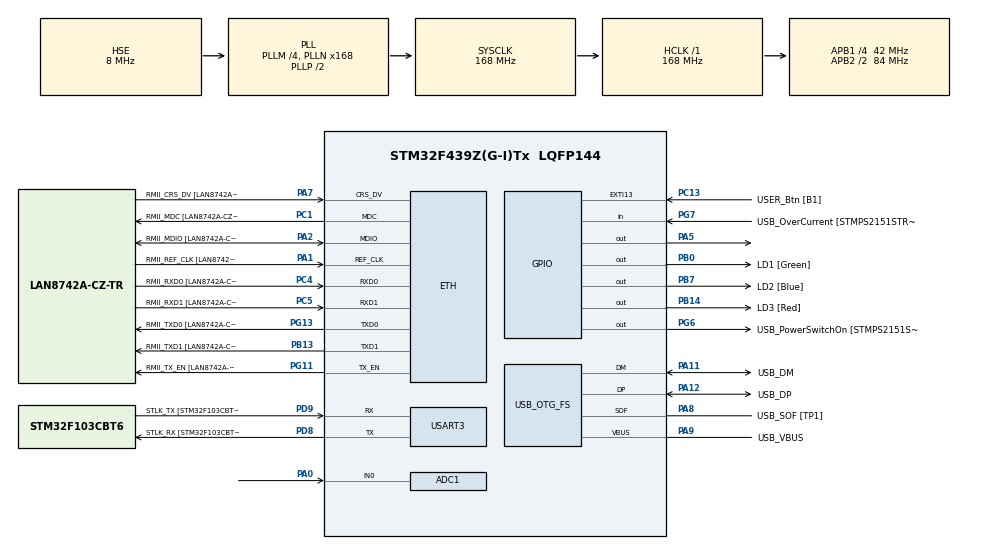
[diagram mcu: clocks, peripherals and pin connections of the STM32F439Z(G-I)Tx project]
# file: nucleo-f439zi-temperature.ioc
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ADC1.Channel-0\#ChannelRegularConversion=ADC_CHANNEL_0
ADC1.DMAContinuousRequests=DISABLE
ADC1.ExternalTrigConv=ADC_SOFTWARE_START
ADC1.NbrOfConversion=1
ADC1.NbrOfConversionFlag=1
ADC1.Rank-0\#ChannelRegularConversion=1
ADC1.Resolution=ADC_RESOLUTION_10B
ADC1.SamplingTime-0\#ChannelRegularConversion=ADC_SAMPLETIME_15CYCLES
ADC1.ScanConvMode=DISABLE
ADC1.master=1
ETH.MediaInterface=HAL_ETH_RMII_MODE
ETH.PHY_Name=LAN8742A_PHY_ADDRESS
ETH.PHY_Value=0
ETH.PhyAddress=0
Mcu.Family=STM32F4
Mcu.Name=STM32F439Z(G-I)Tx
Mcu.Package=LQFP144
NVIC.PriorityGroup=NVIC_PRIORITYGROUP_4
PA0/WKUP.Signal=ADCx_IN0
PA1.GPIO_Label=RMII_REF_CLK [LAN8742A-CZ-TR_REFCLK0]
PA1.Mode=RMII
PA1.Signal=ETH_REF_CLK
PA10.GPIO_Label=USB_ID
PA10.Signal=USB_OTG_FS_ID
PA11.GPIO_Label=USB_DM
PA11.Mode=Device_Only
PA11.Signal=USB_OTG_FS_DM
PA12.GPIO_Label=USB_DP
PA12.Mode=Device_Only
PA12.Signal=USB_OTG_FS_DP
PA13.GPIO_Label=TMS
PA13.Mode=Serial_Wire
PA13.Signal=SYS_JTMS-SWDIO
PA14.GPIO_Label=TCK
PA14.Mode=Serial_Wire
PA14.Signal=SYS_JTCK-SWCLK
PA2.GPIO_Label=RMII_MDIO [LAN8742A-CZ-TR_MDIO]
PA2.Mode=RMII
PA2.Signal=ETH_MDIO
PA5.Signal=GPIO_Output
PA7.GPIO_Label=RMII_CRS_DV [LAN8742A-CZ-TR_CRS_DV]
PA7.Mode=RMII
PA7.Signal=ETH_CRS_DV
PA8.GPIO_Label=USB_SOF [TP1]
PA8.Mode=Activate_SOF_FS
PA8.Signal=USB_OTG_FS_SOF
PA9.GPIO_Label=USB_VBUS
PA9.Mode=Activate_VBUS
PA9.Signal=USB_OTG_FS_VBUS
PB0.GPIO_Label=LD1 [Green]
PB0.Signal=GPIO_Output
PB13.GPIO_Label=RMII_TXD1 [LAN8742A-CZ-TR_TXD1]
PB13.Mode=RMII
PB13.Signal=ETH_TXD1
PB14.GPIO_Label=LD3 [Red]
PB14.Signal=GPIO_Output
PB7.GPIO_Label=LD2 [Blue]
PB7.Signal=GPIO_Output
PC1.GPIO_Label=RMII_MDC [LAN8742A-CZ-TR_MDC]
PC1.Mode=RMII
PC1.Signal=ETH_MDC
PC13.GPIO_Label=USER_Btn [B1]
PC13.Signal=GPXTI13
PC14/OSC32_IN.Mode=LSE-External-Oscillator
PC14/OSC32_IN.Signal=RCC_OSC32_IN
PC15/OSC32_OUT.Mode=LSE-External-Oscillator
PC15/OSC32_OUT.Signal=RCC_OSC32_OUT
PC4.GPIO_Label=RMII_RXD0 [LAN8742A-CZ-TR_RXD0]
PC4.Mode=RMII
PC4.Signal=ETH_RXD0
PC5.GPIO_Label=RMII_RXD1 [LAN8742A-CZ-TR_RXD1]
PC5.Mode=RMII
PC5.Signal=ETH_RXD1
PD8.GPIO_Label=STLK_RX [STM32F103CBT6_PA3]
PD8.Mode=Asynchronous
PD8.Signal=USART3_TX
PD9.GPIO_Label=STLK_TX [STM32F103CBT6_PA2]
PD9.Mode=Asynchronous
PD9.Signal=USART3_RX
PG11.GPIO_Label=RMII_TX_EN [LAN8742A-CZ-TR_TXEN]
PG11.Mode=RMII
PG11.Signal=ETH_TX_EN
PG13.GPIO_Label=RMII_TXD0 [LAN8742A-CZ-TR_TXD0]
PG13.Mode=RMII
PG13.Signal=ETH_TXD0
PG6.GPIO_Label=USB_PowerSwitchOn [STMPS2151STR_EN]
PG6.Signal=GPIO_Output
PG7.GPIO_Label=USB_OverCurrent [STMPS2151STR_FAULT]
PG7.Signal=GPIO_Input
PH0/OSC_IN.GPIO_Label=MCO [STM32F103CBT6_PA8]
PH0/OSC_IN.Mode=HSE-External-Clock-Source
PH0/OSC_IN.Signal=RCC_OSC_IN
PH1/OSC_OUT.Mode=HSE-External-Clock-Source
PH1/OSC_OUT.Signal=RCC_OSC_OUT
ProjectManager.HeapSize=0x200
ProjectManager.StackSize=0x400
ProjectManager.TargetToolchain=STM32CubeIDE
RCC.48MHZClocksFreq_Value=48000000
RCC.AHBFreq_Value=168000000
RCC.APB1CLKDivider=RCC_HCLK_DIV4
RCC.APB1Freq_Value=42000000
RCC.APB1TimFreq_Value=84000000
RCC.APB2CLKDivider=RCC_HCLK_DIV2
RCC.APB2Freq_Value=84000000
RCC.APB2TimCLKDivider=2
RCC.APB2TimFreq_Value=168000000
RCC.CortexFreq_Value=168000000
RCC.HCLKFreq_Value=168000000
RCC.HSE_VALUE=8000000
RCC.HSI_VALUE=16000000
RCC.PLLM=4
RCC.PLLMUL=RCC_PLL_MUL9
RCC.PLLN=168
RCC.PLLQ=7
RCC.PRESCALERUSB=RCC_USBCLKSOURCE_PLL_DIV1_5
RCC.SYSCLKFreq_VALUE=168000000
RCC.SYSCLKSource=RCC_SYSCLKSOURCE_PLLCLK
RCC.SYSCLKSourceVirtual=RCC_SYSCLKSOURCE_PLLCLK
RCC.USBFreq_Value=48000000
RCC.VCOOutputFreq_Value=336000000
SH.ADCx_IN0.0=ADC1_IN0,IN0
USART3.VirtualMode=VM_ASYNC
USB_OTG_FS.VirtualMode=Device_Only
board=NUCLEO-F439ZI

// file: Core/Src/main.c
/* USER CODE BEGIN Header */
/**
  ******************************************************************************
  * @file           : main.c
  * @brief          : Main program body
  ******************************************************************************
  * @attention
  *
  * Copyright (c) 2024 STMicroelectronics.
  * All rights reserved.
  *
  * This software is licensed under terms that can be found in the LICENSE file
  * in the root directory of this software component.
  * If no LICENSE file comes with this software, it is provided AS-IS.
  *
  ******************************************************************************
  */
/* USER CODE END Header */
#include "main.h"
#include "string.h"

/* USER CODE BEGIN Includes */
#include "stdio.h"
#include "math.h"
/* USER CODE END Includes */

ETH_TxPacketConfig TxConfig;
ETH_DMADescTypeDef  DMARxDscrTab[ETH_RX_DESC_CNT]; /* Ethernet Rx DMA Descriptors */
ETH_DMADescTypeDef  DMATxDscrTab[ETH_TX_DESC_CNT]; /* Ethernet Tx DMA Descriptors */

ADC_HandleTypeDef hadc1;

ETH_HandleTypeDef heth;

UART_HandleTypeDef huart3;

PCD_HandleTypeDef hpcd_USB_OTG_FS;

/* USER CODE BEGIN PV */
uint16_t temp=0;
char message[30];

const int SAMPLE_NUMBER = 3;
const double BALANCE_RESISTOR   = 10000.0;
const double MAX_ADC            = 1023.0;
const double BETA               = 3984.0;
const double ROOM_TEMP          = 278.15;   // room temperature in Kelvin
const double RESISTOR_ROOM_TEMP = 10000.0;

/* USER CODE END PV */

void SystemClock_Config(void);
static void MX_GPIO_Init(void);
static void MX_ETH_Init(void);
static void MX_USART3_UART_Init(void);
static void MX_USB_OTG_FS_PCD_Init(void);
static void MX_ADC1_Init(void);

int main(void)
{

  /* MCU Configuration--------------------------------------------------------*/

  /* Reset of all peripherals, Initializes the Flash interface and the Systick. */
  HAL_Init();

  /* Configure the system clock */
  SystemClock_Config();

  /* Initialize all configured peripherals */
  MX_GPIO_Init();
  MX_ETH_Init();
  MX_USART3_UART_Init();
  MX_USB_OTG_FS_PCD_Init();
  MX_ADC1_Init();
  /* USER CODE BEGIN 2 */

  /*https://www.allaboutcircuits.com/projects/measuring-temperature-with-an-ntc-thermistor/
   *
   * Quick Schematic in case you are too lazy to look at the site :P

          (Ground) ----\/\/\/-------|-------\/\/\/---- V_supply
                     R_balance      |     R_thermistor
                                    |
                               Analog Pin
*/

  double readThermistor()
  {
    double rThermistor = 0;            // Holds thermistor resistance value
    double tKelvin     = 0;            // Holds calculated temperature
    double tCelsius    = 0;            // Hold temperature in celsius
    double adcAverage  = 0;            // Holds the average voltage measurement
    int    adcSamples[SAMPLE_NUMBER];  // Array to hold each voltage measurement

    /* Calculate thermistor's average resistance:
       As mentioned in the top of the code, we will sample the ADC pin a few times
       to get a bunch of samples. A slight delay is added to properly have the
       analogRead function sample properly */

    for (int i = 0; i < SAMPLE_NUMBER; i++)
    {
      adcSamples[i] = HAL_ADC_GetValue(&hadc1);
      HAL_Delay(10);        // wait 10 milliseconds
    }

    /* Then, we will simply average all of those samples up for a "stiffer"
       measurement. */
    for (int i = 0; i < SAMPLE_NUMBER; i++)
    {
      adcAverage += adcSamples[i];      // add all samples up . . .
    }
    adcAverage /= SAMPLE_NUMBER;        // . . . average it w/ divide

    /* Here we calculate the thermistor’s resistance using the equation
       discussed in the article. */
    rThermistor = BALANCE_RESISTOR * ( (MAX_ADC / adcAverage) - 1);

    /* Here is where the Beta equation is used, but it is different
       from what the article describes. Don't worry! It has been rearranged
       algebraically to give a "better" looking formula. I encourage you
       to try to manipulate the equation from the article yourself to get
       better at algebra. And if not, just use what is shown here and take it
       for granted or input the formula directly from the article, exactly
       as it is shown. Either way will work! */
    tKelvin = (BETA * ROOM_TEMP) /
              (BETA + (ROOM_TEMP * log(rThermistor / RESISTOR_ROOM_TEMP)));

    /* I will use the units of Celsius to indicate temperature. I did this
       just so I can see the typical room temperature, which is 25 degrees
       Celsius, when I first try the program out. I prefer Fahrenheit, but
       I leave it up to you to either change this function, or create
       another function which converts between the two units. */
    tCelsius = tKelvin - 273.15;  // convert kelvin to celsius

    return tCelsius;    // Return the temperature in Celsius
  }

  /* USER CODE END 2 */

  /* Infinite loop */
  /* USER CODE BEGIN WHILE */
  while (1)
  {
	  HAL_ADC_Start(&hadc1);
	  HAL_ADC_PollForConversion(&hadc1,20);
	  temp = HAL_ADC_GetValue(&hadc1);
	  temp = readThermistor();
	  sprintf(message, "Temperatur: %hu \r\n",temp);
	  HAL_UART_Transmit(&huart3, (uint8_t*)message, strlen(message), HAL_MAX_DELAY);
	  HAL_Delay(200);

    /* USER CODE END WHILE */

  }
}

void SystemClock_Config(void)
{
  RCC_OscInitTypeDef RCC_OscInitStruct = {0};
  RCC_ClkInitTypeDef RCC_ClkInitStruct = {0};

  /** Configure the main internal regulator output voltage
  */
  __HAL_RCC_PWR_CLK_ENABLE();
  __HAL_PWR_VOLTAGESCALING_CONFIG(PWR_REGULATOR_VOLTAGE_SCALE1);

  /** Initializes the RCC Oscillators according to the specified parameters
  * in the RCC_OscInitTypeDef structure.
  */
  RCC_OscInitStruct.OscillatorType = RCC_OSCILLATORTYPE_HSE;
  RCC_OscInitStruct.HSEState = RCC_HSE_BYPASS;
  RCC_OscInitStruct.PLL.PLLState = RCC_PLL_ON;
  RCC_OscInitStruct.PLL.PLLSource = RCC_PLLSOURCE_HSE;
  RCC_OscInitStruct.PLL.PLLM = 4;
  RCC_OscInitStruct.PLL.PLLN = 168;
  RCC_OscInitStruct.PLL.PLLP = RCC_PLLP_DIV2;
  RCC_OscInitStruct.PLL.PLLQ = 7;
  if (HAL_RCC_OscConfig(&RCC_OscInitStruct) != HAL_OK)
  {
    Error_Handler();
  }

  /** Initializes the CPU, AHB and APB buses clocks
  */
  RCC_ClkInitStruct.ClockType = RCC_CLOCKTYPE_HCLK|RCC_CLOCKTYPE_SYSCLK
                              |RCC_CLOCKTYPE_PCLK1|RCC_CLOCKTYPE_PCLK2;
  RCC_ClkInitStruct.SYSCLKSource = RCC_SYSCLKSOURCE_PLLCLK;
  RCC_ClkInitStruct.AHBCLKDivider = RCC_SYSCLK_DIV1;
  RCC_ClkInitStruct.APB1CLKDivider = RCC_HCLK_DIV4;
  RCC_ClkInitStruct.APB2CLKDivider = RCC_HCLK_DIV2;

  if (HAL_RCC_ClockConfig(&RCC_ClkInitStruct, FLASH_LATENCY_5) != HAL_OK)
  {
    Error_Handler();
  }
}

static void MX_ADC1_Init(void)
{

  ADC_ChannelConfTypeDef sConfig = {0};

  /** Configure the global features of the ADC (Clock, Resolution, Data Alignment and number of conversion)
  */
  hadc1.Instance = ADC1;
  hadc1.Init.ClockPrescaler = ADC_CLOCK_SYNC_PCLK_DIV4;
  hadc1.Init.Resolution = ADC_RESOLUTION_10B;
  hadc1.Init.ScanConvMode = DISABLE;
  hadc1.Init.ContinuousConvMode = DISABLE;
  hadc1.Init.DiscontinuousConvMode = DISABLE;
  hadc1.Init.ExternalTrigConvEdge = ADC_EXTERNALTRIGCONVEDGE_NONE;
  hadc1.Init.ExternalTrigConv = ADC_SOFTWARE_START;
  hadc1.Init.DataAlign = ADC_DATAALIGN_RIGHT;
  hadc1.Init.NbrOfConversion = 1;
  hadc1.Init.DMAContinuousRequests = DISABLE;
  hadc1.Init.EOCSelection = ADC_EOC_SINGLE_CONV;
  if (HAL_ADC_Init(&hadc1) != HAL_OK)
  {
    Error_Handler();
  }

  /** Configure for the selected ADC regular channel its corresponding rank in the sequencer and its sample time.
  */
  sConfig.Channel = ADC_CHANNEL_0;
  sConfig.Rank = 1;
  sConfig.SamplingTime = ADC_SAMPLETIME_15CYCLES;
  if (HAL_ADC_ConfigChannel(&hadc1, &sConfig) != HAL_OK)
  {
    Error_Handler();
  }

}

static void MX_ETH_Init(void)
{

   static uint8_t MACAddr[6];

  heth.Instance = ETH;
  MACAddr[0] = 0x00;
  MACAddr[1] = 0x80;
  MACAddr[2] = 0xE1;
  MACAddr[3] = 0x00;
  MACAddr[4] = 0x00;
  MACAddr[5] = 0x00;
  heth.Init.MACAddr = &MACAddr[0];
  heth.Init.MediaInterface = HAL_ETH_RMII_MODE;
  heth.Init.TxDesc = DMATxDscrTab;
  heth.Init.RxDesc = DMARxDscrTab;
  heth.Init.RxBuffLen = 1524;

  if (HAL_ETH_Init(&heth) != HAL_OK)
  {
    Error_Handler();
  }

  memset(&TxConfig, 0 , sizeof(ETH_TxPacketConfig));
  TxConfig.Attributes = ETH_TX_PACKETS_FEATURES_CSUM | ETH_TX_PACKETS_FEATURES_CRCPAD;
  TxConfig.ChecksumCtrl = ETH_CHECKSUM_IPHDR_PAYLOAD_INSERT_PHDR_CALC;
  TxConfig.CRCPadCtrl = ETH_CRC_PAD_INSERT;

}

static void MX_USART3_UART_Init(void)
{

  huart3.Instance = USART3;
  huart3.Init.BaudRate = 115200;
  huart3.Init.WordLength = UART_WORDLENGTH_8B;
  huart3.Init.StopBits = UART_STOPBITS_1;
  huart3.Init.Parity = UART_PARITY_NONE;
  huart3.Init.Mode = UART_MODE_TX_RX;
  huart3.Init.HwFlowCtl = UART_HWCONTROL_NONE;
  huart3.Init.OverSampling = UART_OVERSAMPLING_16;
  if (HAL_UART_Init(&huart3) != HAL_OK)
  {
    Error_Handler();
  }

}

static void MX_USB_OTG_FS_PCD_Init(void)
{

  hpcd_USB_OTG_FS.Instance = USB_OTG_FS;
  hpcd_USB_OTG_FS.Init.dev_endpoints = 4;
  hpcd_USB_OTG_FS.Init.speed = PCD_SPEED_FULL;
  hpcd_USB_OTG_FS.Init.dma_enable = DISABLE;
  hpcd_USB_OTG_FS.Init.phy_itface = PCD_PHY_EMBEDDED;
  hpcd_USB_OTG_FS.Init.Sof_enable = ENABLE;
  hpcd_USB_OTG_FS.Init.low_power_enable = DISABLE;
  hpcd_USB_OTG_FS.Init.lpm_enable = DISABLE;
  hpcd_USB_OTG_FS.Init.vbus_sensing_enable = ENABLE;
  hpcd_USB_OTG_FS.Init.use_dedicated_ep1 = DISABLE;
  if (HAL_PCD_Init(&hpcd_USB_OTG_FS) != HAL_OK)
  {
    Error_Handler();
  }

}

static void MX_GPIO_Init(void)
{
  GPIO_InitTypeDef GPIO_InitStruct = {0};

  /* GPIO Ports Clock Enable */
  __HAL_RCC_GPIOC_CLK_ENABLE();
  __HAL_RCC_GPIOH_CLK_ENABLE();
  __HAL_RCC_GPIOA_CLK_ENABLE();
  __HAL_RCC_GPIOB_CLK_ENABLE();
  __HAL_RCC_GPIOD_CLK_ENABLE();
  __HAL_RCC_GPIOG_CLK_ENABLE();

  /*Configure GPIO pin Output Level */
  HAL_GPIO_WritePin(GPIOA, GPIO_PIN_5, GPIO_PIN_RESET);

  /*Configure GPIO pin Output Level */
  HAL_GPIO_WritePin(GPIOB, LD1_Pin|LD3_Pin|LD2_Pin, GPIO_PIN_RESET);

  /*Configure GPIO pin Output Level */
  HAL_GPIO_WritePin(USB_PowerSwitchOn_GPIO_Port, USB_PowerSwitchOn_Pin, GPIO_PIN_RESET);

  /*Configure GPIO pin : USER_Btn_Pin */
  GPIO_InitStruct.Pin = USER_Btn_Pin;
  GPIO_InitStruct.Mode = GPIO_MODE_IT_RISING;
  GPIO_InitStruct.Pull = GPIO_NOPULL;
  HAL_GPIO_Init(USER_Btn_GPIO_Port, &GPIO_InitStruct);

  /*Configure GPIO pin : PA5 */
  GPIO_InitStruct.Pin = GPIO_PIN_5;
  GPIO_InitStruct.Mode = GPIO_MODE_OUTPUT_PP;
  GPIO_InitStruct.Pull = GPIO_NOPULL;
  GPIO_InitStruct.Speed = GPIO_SPEED_FREQ_LOW;
  HAL_GPIO_Init(GPIOA, &GPIO_InitStruct);

  /*Configure GPIO pins : LD1_Pin LD3_Pin LD2_Pin */
  GPIO_InitStruct.Pin = LD1_Pin|LD3_Pin|LD2_Pin;
  GPIO_InitStruct.Mode = GPIO_MODE_OUTPUT_PP;
  GPIO_InitStruct.Pull = GPIO_NOPULL;
  GPIO_InitStruct.Speed = GPIO_SPEED_FREQ_LOW;
  HAL_GPIO_Init(GPIOB, &GPIO_InitStruct);

  /*Configure GPIO pin : USB_PowerSwitchOn_Pin */
  GPIO_InitStruct.Pin = USB_PowerSwitchOn_Pin;
  GPIO_InitStruct.Mode = GPIO_MODE_OUTPUT_PP;
  GPIO_InitStruct.Pull = GPIO_NOPULL;
  GPIO_InitStruct.Speed = GPIO_SPEED_FREQ_LOW;
  HAL_GPIO_Init(USB_PowerSwitchOn_GPIO_Port, &GPIO_InitStruct);

  /*Configure GPIO pin : USB_OverCurrent_Pin */
  GPIO_InitStruct.Pin = USB_OverCurrent_Pin;
  GPIO_InitStruct.Mode = GPIO_MODE_INPUT;
  GPIO_InitStruct.Pull = GPIO_NOPULL;
  HAL_GPIO_Init(USB_OverCurrent_GPIO_Port, &GPIO_InitStruct);

}

void Error_Handler(void)
{
  __disable_irq();
  while (1)
  {
  }
}
